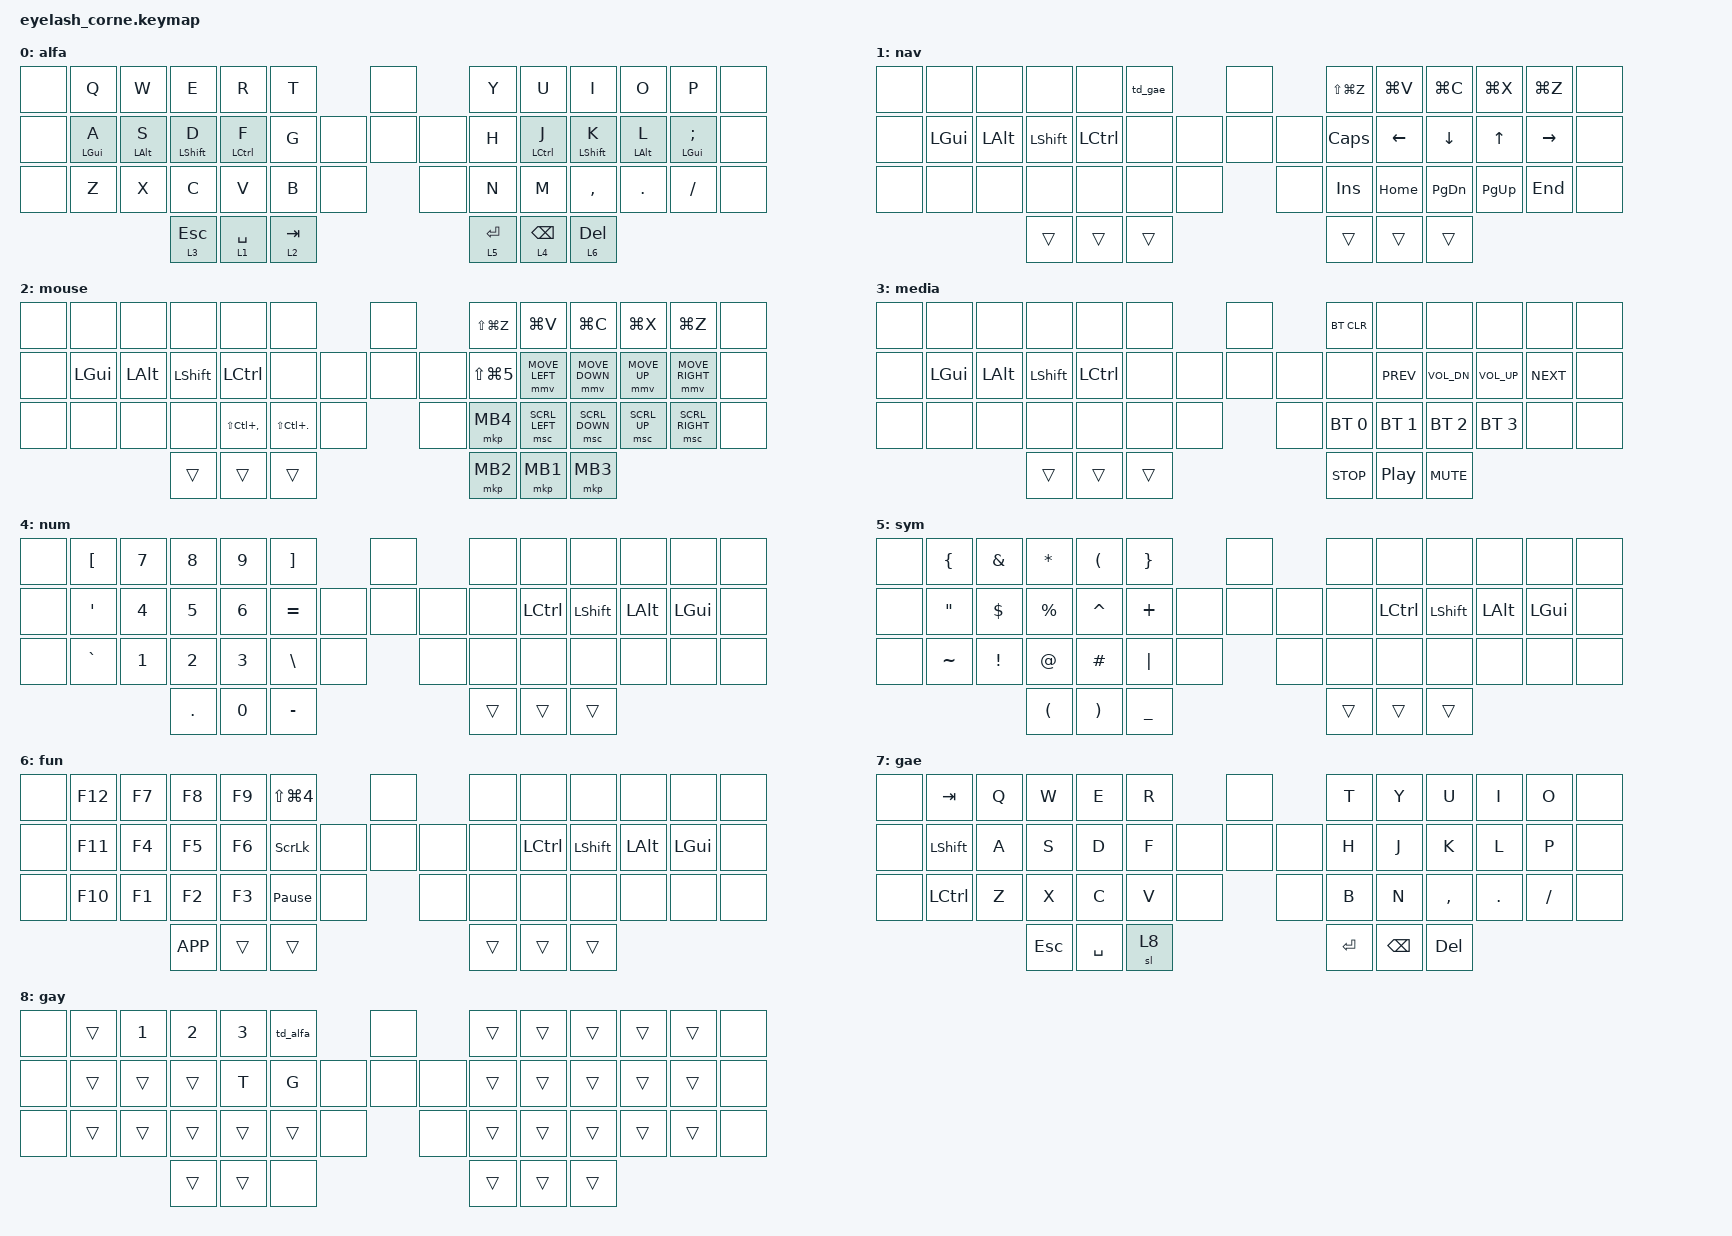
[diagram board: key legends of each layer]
#define ZMK_POINTING_DEFAULT_MOVE_VAL 1200  // 600
#define ZMK_POINTING_DEFAULT_SCRL_VAL 40   // 10

#include <input/processors.dtsi>
#include <zephyr/dt-bindings/input/input-event-codes.h>
#include <behaviors.dtsi>
#include <dt-bindings/zmk/bt.h>
#include <dt-bindings/zmk/keys.h>
#include <dt-bindings/zmk/outputs.h>
#include <dt-bindings/zmk/pointing.h>
#include <dt-bindings/zmk/rgb.h>

&mmv_input_listener { input-processors = <&zip_xy_scaler 2 1>; };

&msc_input_listener { input-processors = <&zip_scroll_scaler 3 1>; };  // was 2 1

&msc {
    acceleration-exponent = <0>;      // 0
    time-to-max-speed-ms = <0>;       // 300
    delay-ms = <0>;                   // 0
};

&mmv {
    time-to-max-speed-ms = <500>;
    acceleration-exponent = <1>;
    trigger-period-ms = <16>;
};

&soft_off { hold-time-ms = <2000>; };

/ {
    behaviors {
        hm: home_row_mods {
            compatible = "zmk,behavior-hold-tap";
            #binding-cells = <2>;
            tapping-term-ms = <200>;
            quick-tap-ms = <175>;
            flavor = "tap-preferred";
            bindings = <&kp>, <&kp>;
        };
        lt: layer_tap {
            compatible = "zmk,behavior-hold-tap";
            #binding-cells = <2>;
            tapping-term-ms = <200>;
            quick-tap-ms = <175>;
            flavor = "balanced";
            bindings = <&mo>, <&kp>;
        };
        td_gae: td_game_layer {
            compatible = "zmk,behavior-tap-dance";
            #binding-cells = <0>;
            tapping-term-ms = <200>;
            bindings = <&none>, <&to 7>;
        };
        td_alfa: td_alfa_layer {
            compatible = "zmk,behavior-tap-dance";
            #binding-cells = <0>;
            tapping-term-ms = <200>;
            bindings = <&none>, <&to 0>;
        };
    };

    rgb_encoder: rgb_encoder {
        compatible = "zmk,behavior-sensor-rotate";
        #sensor-binding-cells = <0>;
        bindings = <&rgb_ug RGB_BRI>, <&rgb_ug RGB_BRD>;
    };

    scroll_encoder: scroll_encoder {
        compatible = "zmk,behavior-sensor-rotate";
        #sensor-binding-cells = <0>;
        bindings = <&msc SCRL_DOWN>, <&msc SCRL_UP>;

        tap-ms = <100>;
    };

    combos {
        compatible = "zmk,combos";

        softoff {
            bindings = <&soft_off>;
            key-positions = <1 15 29>;
        };
    };

    keymap {
        compatible = "zmk,keymap";

        alfa {
            display-name = "alfa";
            bindings = <
&none   &kp Q        &kp W        &kp E         &kp R            &kp T                    &none           &kp Y         &kp U         &kp I         &kp O        &kp P          &none
&none   &hm LGUI A   &hm LALT S   &hm LSHIFT D  &hm LCTRL F      &kp G            &none   &none  &none    &kp H         &hm LCTRL J   &hm LSHIFT K  &hm LALT L   &hm LGUI SEMI  &none
&none   &kp Z        &kp X        &kp C         &kp V            &kp B      &none         &none           &kp N         &kp M         &kp COMMA     &kp DOT      &kp FSLH       &none
                                  &lt 3 ESC     &lt 1 SPACE      &lt 2 TAB                                &lt 5 RET     &lt 4 BSPC    &lt 6 DEL
            >;
        };

        // Navigation Layer
        nav {
            display-name = "nav";
            bindings = <
&none   &none      &none      &none        &none         &td_gae                 &none          &kp LS(LG(Z))   &kp LG(V)   &kp LG(C)   &kp LG(X)   &kp LG(Z)   &none
&none   &kp LGUI   &kp LALT   &kp LSHFT    &kp LCTRL     &none           &none   &none  &none   &kp CAPS        &kp LEFT    &kp DOWN    &kp UP      &kp RIGHT   &none
&none   &none      &none      &none        &none         &none     &none         &none          &kp INS         &kp HOME    &kp PG_DN   &kp PG_UP   &kp END     &none
                              &trans       &trans        &trans                                 &trans          &trans      &trans
            >;
        };

        // Mouse Layer
        mouse {
            display-name = "mouse";
            bindings = <
&none   &none      &none      &none       &none               &none                          &none          &kp LS(LG(Z))    &kp LG(V)        &kp LG(C)        &kp LG(X)      &kp LG(Z)         &none
&none   &kp LGUI   &kp LALT   &kp LSHFT   &kp LCTRL           &none                  &none   &none  &none   &kp LS(LG(N5))   &mmv MOVE_LEFT   &mmv MOVE_DOWN   &mmv MOVE_UP   &mmv MOVE_RIGHT   &none
&none   &none      &none      &none       &kp LS(LC(COMMA))   &kp LS(LC(DOT))   &none        &none          &mkp MB4         &msc SCRL_LEFT   &msc SCRL_DOWN   &msc SCRL_UP   &msc SCRL_RIGHT   &none
                              &trans      &trans              &trans                                        &mkp MB2         &mkp MB1         &mkp MB3
            >;
        };

        // Media Layer
        media {
            display-name = "media";
            bindings = <
&none   &none      &none      &none       &none       &none                 &none          &bt BT_CLR     &none          &none          &none          &none        &none
&none   &kp LGUI   &kp LALT   &kp LSHFT   &kp LCTRL   &none         &none   &none  &none   &none          &kp C_PREV     &kp C_VOL_DN   &kp C_VOL_UP   &kp C_NEXT   &none
&none   &none      &none      &none       &none       &none   &none         &none          &bt BT_SEL 0   &bt BT_SEL 1   &bt BT_SEL 2   &bt BT_SEL 3   &none        &none
                              &trans      &trans      &trans                               &kp C_STOP     &kp C_PP       &kp C_MUTE
            >;
        };

        // Number Layer
        num {
            display-name = "num";
            bindings = <
&none   &kp LBKT    &kp N7   &kp N8    &kp N9   &kp RBKT                  &none          &none   &none       &none        &none      &none      &none
&none   &kp SQT     &kp N4   &kp N5    &kp N6   &kp EQUAL         &none   &none  &none   &none   &kp LCTRL   &kp LSHIFT   &kp LALT   &kp LGUI   &none
&none   &kp GRAVE   &kp N1   &kp N2    &kp N3   &kp BSLH    &none         &none          &none   &none       &none        &none      &none      &none
                             &kp DOT   &kp N0   &kp MINUS                                &trans  &trans      &trans
            >;
        };

        // Symbol Layer
        sym {
            display-name = "sym";
            bindings = <
&none   &kp LBRC            &kp AMPS   &kp ASTRK   &kp LPAR    &kp RBRC                  &none          &none    &none       &none        &none      &none      &none
&none   &kp DOUBLE_QUOTES   &kp DLLR   &kp PRCNT   &kp CARET   &kp PLUS          &none   &none  &none   &none    &kp LCTRL   &kp LSHIFT   &kp LALT   &kp LGUI   &none
&none   &kp TILDE           &kp EXCL   &kp AT      &kp HASH    &kp PIPE    &none         &none          &none    &none       &none        &none      &none      &none
                                       &kp LPAR    &kp RPAR    &kp UNDER                                &trans   &trans      &trans
            >;
        };

        // Function Layer
        fun {
            display-name = "fun";
            bindings = <
&none   &kp F12   &kp F7   &kp F8      &kp F9   &kp LS(LG(N4))                  &none          &none    &none       &none        &none      &none      &none
&none   &kp F11   &kp F4   &kp F5      &kp F6   &kp SLCK                &none   &none  &none   &none    &kp LCTRL   &kp LSHIFT   &kp LALT   &kp LGUI   &none
&none   &kp F10   &kp F1   &kp F2      &kp F3   &kp PAUSE_BREAK   &none         &none          &none    &none       &none        &none      &none      &none
                           &kp K_APP   &trans   &trans                                         &trans   &trans      &trans
            >;
        };

        // GAME Layer
        gae {
            display-name = "gae";
            bindings = <
&none   &kp TAB      &kp Q   &kp W     &kp E       &kp R                   &none          &kp T     &kp Y      &kp U       &kp I     &kp O      &none
&none   &kp LSHIFT   &kp A   &kp S     &kp D       &kp F           &none   &none  &none   &kp H     &kp J      &kp K       &kp L     &kp P      &none
&none   &kp LCTRL    &kp Z   &kp X     &kp C       &kp V    &none          &none          &kp B     &kp N      &kp COMMA   &kp DOT   &kp FSLH   &none
                             &kp ESC   &kp SPACE   &sl 8                                  &kp RET   &kp BSPC   &kp DEL
            >;
        };

        // GAME 2 Layer
        gay {
            display-name = "gay";
            bindings = <
&none   &trans   &kp N1   &kp N2   &kp N3   &td_alfa                  &none          &trans   &trans   &trans   &trans   &trans   &none
&none   &trans   &trans   &trans   &kp T    &kp G             &none   &none  &none   &trans   &trans   &trans   &trans   &trans   &none
&none   &trans   &trans   &trans   &trans   &trans     &none          &none          &trans   &trans   &trans   &trans   &trans   &none
                          &trans   &trans   &none                                    &trans   &trans   &trans
            >;
        };
    };
};
